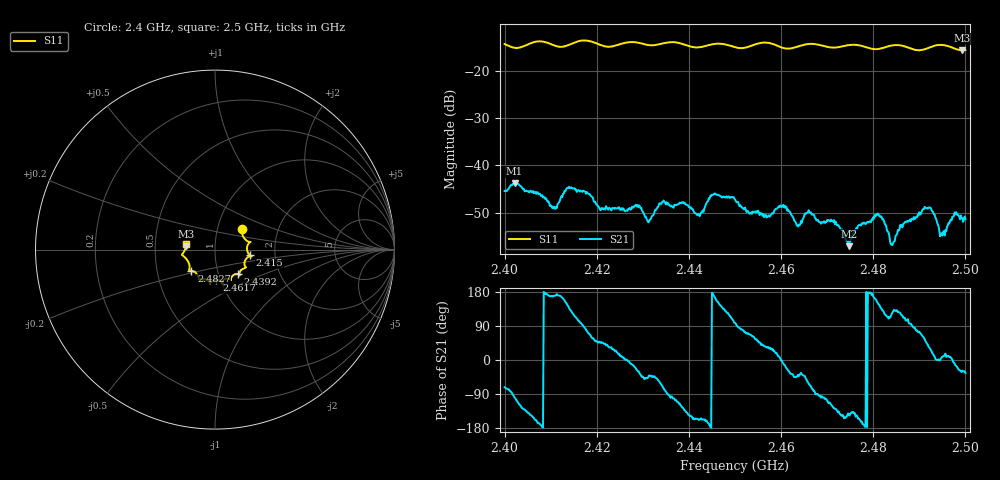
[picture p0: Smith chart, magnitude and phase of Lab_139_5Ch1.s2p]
# Hz S RI R 50
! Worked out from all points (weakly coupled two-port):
!   601 points, 2.4 GHz to 2.5 GHz, reference 50 ohm
!   highest |S21| = -43.81 dB at 2.4022 GHz (marker M1); lowest = -57.1 dB at 2.4747 GHz (marker M2)
!   lowest |S11| = -15.7 dB at 2.4993 GHz (marker M3), VSWR 1.39, Z = 36 + j1.44 ohm
!   |S11| at or under -10 dB: start of sweep to end of sweep
!   S12 and S22 are empty: the file has one direction only
!   S11 on the Smith chart (normalised r, x): 2.4 GHz: 1.31, +0.31; 2.415 GHz: 1.48, -0.10; 2.4392 GHz: 1.24, -0.35; 2.4617 GHz: 0.96, -0.34; 2.4827 GHz: 0.75, -0.18; 2.5 GHz: 0.72, +0.05
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2.4e9  0.1515 0.1151  0.00167 -0.00508  0 0  0 0
2.402167e9  0.154 0.0801  -0.00105 -0.00636  0 0  0 0
2.410833e9  0.182 0.0246  -0.00358 0.000651  0 0  0 0
2.415e9  0.1933 -0.0318  -0.00279 0.00498  0 0  0 0
2.416667e9  0.2032 -0.0384  -0.000513 0.00528  0 0  0 0
2.431167e9  0.1484 -0.1112  0.00175 -0.00179  0 0  0 0
2.433333e9  0.1363 -0.13  0.00216 -0.00294  0 0  0 0
2.439167e9  0.1282 -0.1357  -0.00275 -0.00288  0 0  0 0
2.442e9  0.1007 -0.1437  -0.00279 -0.00124  0 0  0 0
2.445167e9  0.0883 -0.1678  -0.00486 0.000359  0 0  0 0
2.45e9  0.0712 -0.1615  -0.000594 0.00433  0 0  0 0
2.461667e9  0.00795 -0.17  0.00287 -0.0016  0 0  0 0
2.463667e9  -0.0176 -0.1785  0.00175 -0.00144  0 0  0 0
2.466667e9  -0.0269 -0.1894  0.000754 -0.00291  0 0  0 0
2.474667e9  -0.0839 -0.1653  -0.0011 -0.000865  0 0  0 0
2.480833e9  -0.1122 -0.1252  -0.00266 0.00136  0 0  0 0
2.482667e9  -0.1318 -0.1175  -0.00115 0.00206  0 0  0 0
2.483333e9  -0.1375 -0.1169  -0.000645 0.00184  0 0  0 0
2.491667e9  -0.1647 -0.0464  0.00259 0.0024  0 0  0 0
2.495e9  -0.1842 -0.0272  0.00179 0.000269  0 0  0 0
2.499333e9  -0.1623 0.0195  0.00243 -0.00131  0 0  0 0
2.5e9  -0.1619 0.0315  0.00224 -0.00151  0 0  0 0
